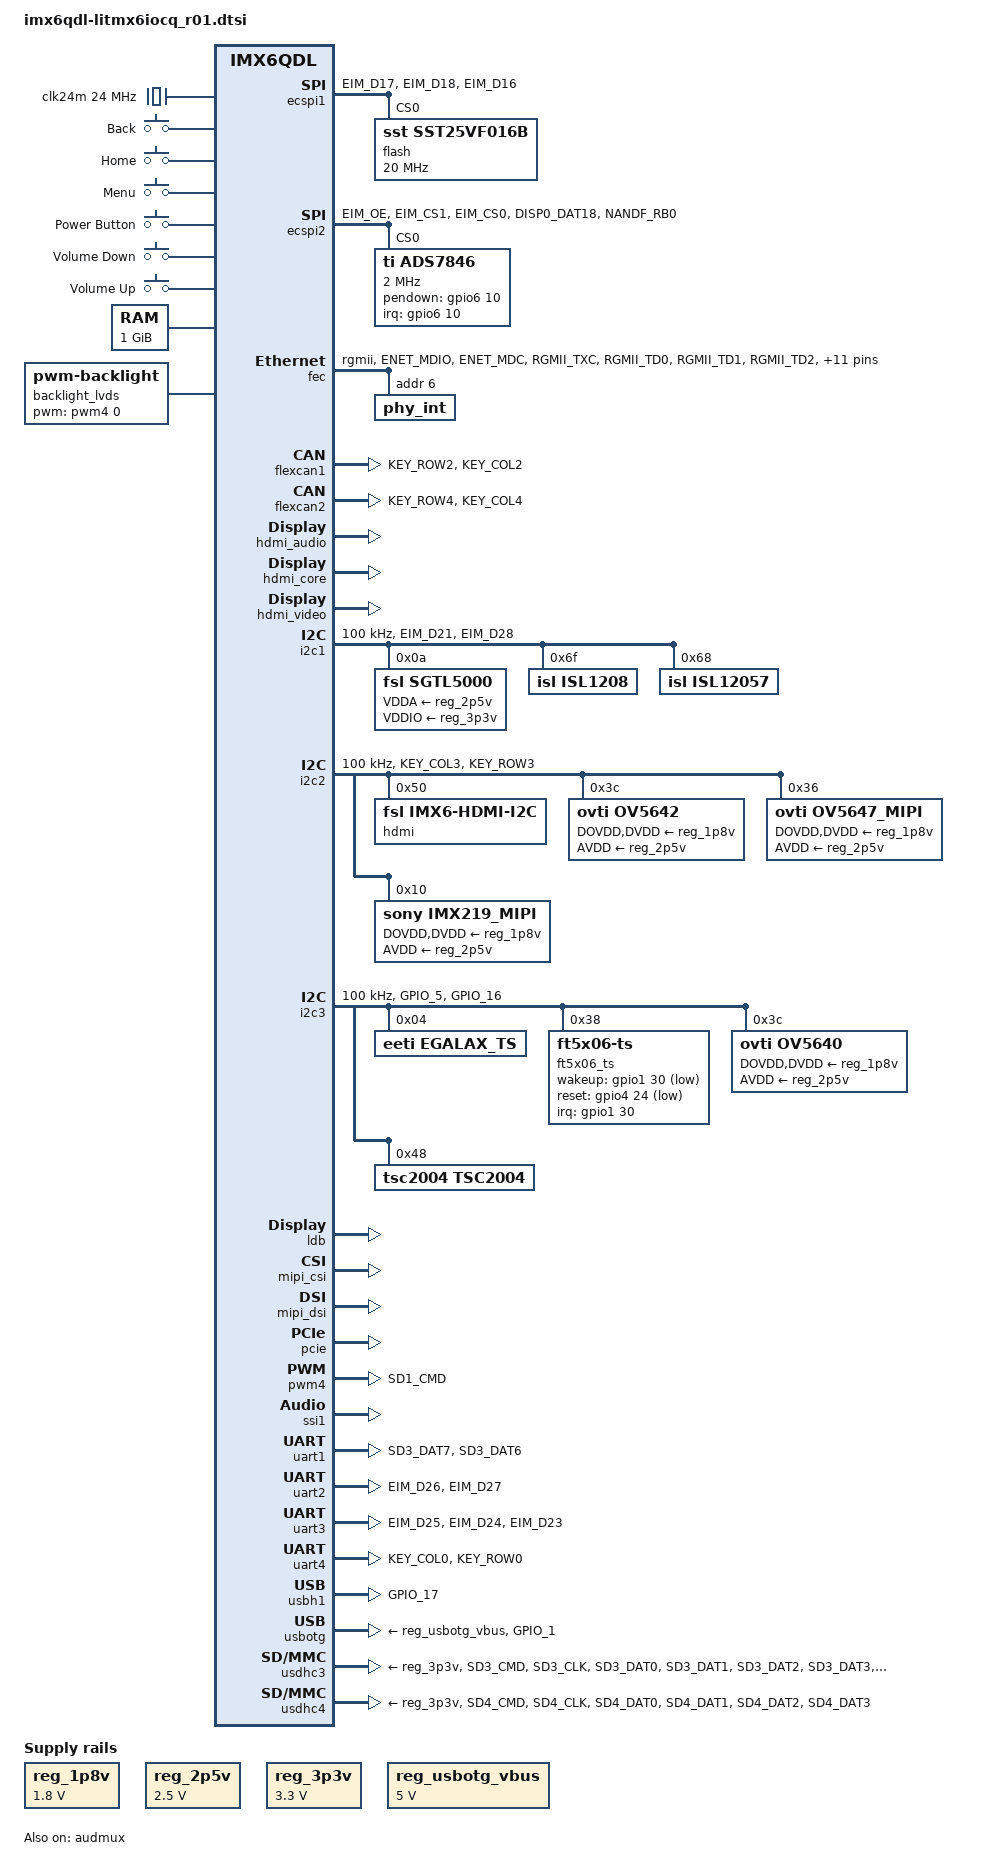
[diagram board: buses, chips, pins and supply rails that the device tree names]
/*
 * Copyritht 2017 LinuxIT, Inc.
 * Copyright 2015 Boundary Devices, Inc.
 * Copyright 2012 Freescale Semiconductor, Inc.
 * Copyright 2011 Linaro Ltd.
 *
 * The code contained herein is licensed under the GNU General Public
 * License. You may obtain a copy of the GNU General Public License
 * Version 2 or later at the following locations:
 *
 * http://www.opensource.org/licenses/gpl-license.html
 * http://www.gnu.org/copyleft/gpl.html
 */
#include <dt-bindings/input/input.h>

&iomuxc {
	pinctrl-names = "default";
	pinctrl-0 = <&pinctrl_hog>;

        iomuxc_imx6q_litmx6iocq_r01: iomuxc-litmx6iocq-grp {
                status = "okay";
        };
};

&iomuxc_imx6q_litmx6iocq_r01 {
	pinctrl_audmux: audmuxgrp {
		fsl,pins = <
			MX6QDL_PAD_CSI0_DAT7__AUD3_RXD		0x130b0
			MX6QDL_PAD_CSI0_DAT4__AUD3_TXC		0x130b0
			MX6QDL_PAD_CSI0_DAT5__AUD3_TXD		0x110b0
			MX6QDL_PAD_CSI0_DAT6__AUD3_TXFS		0x130b0
		>;
	};
	
	pinctrl_ecspi1: ecspi1grp {
		fsl,pins = <
			MX6QDL_PAD_EIM_D17__ECSPI1_MISO		0x100b1
			MX6QDL_PAD_EIM_D18__ECSPI1_MOSI		0x100b1
			MX6QDL_PAD_EIM_D16__ECSPI1_SCLK		0x000b1
#define GP_ECSPI1_NOR_CS	<&gpio3 19 GPIO_ACTIVE_LOW>
	//		MX6QDL_PAD_EIM_D19__GPIO3_IO19		0x0b0b1
		>;
	};

    pinctrl_ecspi2: ecspi2grp {
		fsl,pins = <
			MX6QDL_PAD_EIM_OE__ECSPI2_MISO		0x100b1
			MX6QDL_PAD_EIM_CS1__ECSPI2_MOSI		0x100b1
			MX6QDL_PAD_EIM_CS0__ECSPI2_SCLK		0x000b1
#define GP_ECSPI2_TS_CS	<&gpio5 12 GPIO_ACTIVE_LOW>
			MX6QDL_PAD_DISP0_DAT18__GPIO5_IO12	0x0b0b1
//#define IRQ_TS_INT <&gpio7 8 IRQ_TYPE_EDGE_BOTH>
//#define GP_TS_PENDOWN <&gpio7 8 GPIO_ACTIVE_HIGH>
//			MX6QDL_PAD_SD3_RST__GPIO7_IO08		0x0b0b1
			MX6QDL_PAD_NANDF_RB0__GPIO6_IO10		0x0b0b1
		>;
	};

	pinctrl_enet: enetgrp {
		fsl,pins = <
			MX6QDL_PAD_ENET_MDIO__ENET_MDIO		0x1b0b0
			MX6QDL_PAD_ENET_MDC__ENET_MDC		0x1b0b0
			MX6QDL_PAD_RGMII_TXC__RGMII_TXC		0x1b0b0
			MX6QDL_PAD_RGMII_TD0__RGMII_TD0		0x1b0b0
			MX6QDL_PAD_RGMII_TD1__RGMII_TD1		0x1b0b0
			MX6QDL_PAD_RGMII_TD2__RGMII_TD2		0x1b0b0
			MX6QDL_PAD_RGMII_TD3__RGMII_TD3		0x1b0b0
			MX6QDL_PAD_RGMII_TX_CTL__RGMII_TX_CTL	0x1b0b0
			MX6QDL_PAD_ENET_REF_CLK__ENET_TX_CLK	0x1b0b0
			MX6QDL_PAD_RGMII_RXC__RGMII_RXC		0x1b0b0
			MX6QDL_PAD_RGMII_RD0__RGMII_RD0		0x1b0b0
			MX6QDL_PAD_RGMII_RD1__RGMII_RD1		0x1b0b0
			MX6QDL_PAD_RGMII_RD2__RGMII_RD2		0x1b0b0
			MX6QDL_PAD_RGMII_RD3__RGMII_RD3		0x1b0b0
			MX6QDL_PAD_RGMII_RX_CTL__RGMII_RX_CTL	0x1b0b0
#define GP_ENET_PHY_RESET	<&gpio1 27 GPIO_ACTIVE_LOW>
			MX6QDL_PAD_ENET_RXD0__GPIO1_IO27	0x0f0b0		/* ethernet phy reset */
#define GPIRQ_ENET_PHY		<&gpio1 28 IRQ_TYPE_LEVEL_LOW>
			MX6QDL_PAD_ENET_TX_EN__GPIO1_IO28	0x1b0b0		/* ethernet phy interrupt */
		>;
	};

	pinctrl_flexcan1: flexcan1grp {
		fsl,pins = <
			MX6QDL_PAD_KEY_ROW2__FLEXCAN1_RX	0x1b0b0
			MX6QDL_PAD_KEY_COL2__FLEXCAN1_TX	0x1b0b0
		>;
	};

	pinctrl_flexcan2: flexcan2grp {
		fsl,pins = <
			MX6QDL_PAD_KEY_ROW4__FLEXCAN2_RX	0x1b0b0
			MX6QDL_PAD_KEY_COL4__FLEXCAN2_TX	0x1b0b0
		>;
	};

	pinctrl_gpio_keys: gpio-keysgrp {
		fsl,pins = <
#define GP_GPIOKEY_POWER	<&gpio2 3 GPIO_ACTIVE_LOW>
			MX6QDL_PAD_NANDF_D3__GPIO2_IO03		0x1b0b0
#define GP_GPIOKEY_MENU		<&gpio2 1 GPIO_ACTIVE_LOW>
			MX6QDL_PAD_NANDF_D1__GPIO2_IO01		0x1b0b0
#define GP_GPIOKEY_HOME		<&gpio2 4 GPIO_ACTIVE_LOW>
			MX6QDL_PAD_NANDF_D4__GPIO2_IO04		0x1b0b0
#define GP_GPIOKEY_BACK		<&gpio2 2 GPIO_ACTIVE_LOW>
			MX6QDL_PAD_NANDF_D2__GPIO2_IO02		0x1b0b0
#define GP_GPIOKEY_VOL_UP	<&gpio7 13 GPIO_ACTIVE_LOW>
			MX6QDL_PAD_GPIO_18__GPIO7_IO13		0x1b0b0
#define GP_GPIOKEY_VOL_DN	<&gpio4 5 GPIO_ACTIVE_LOW>
			MX6QDL_PAD_GPIO_19__GPIO4_IO05          0x1b0b0
		>;
	};

	pinctrl_hog: hoggrp {
		fsl,pins = <
			MX6QDL_PAD_DI0_DISP_CLK__GPIO4_IO16		0x1b0b0			/* Spare */
			MX6QDL_PAD_DI0_PIN15__GPIO4_IO17		0x1b0b0			/* Spare */
			MX6QDL_PAD_DI0_PIN2__GPIO4_IO18		0x1b0b0			/* Spare */
			MX6QDL_PAD_DI0_PIN3__GPIO4_IO19		0x1b0b0			/* Spare */
			MX6QDL_PAD_DISP0_DAT5__GPIO4_IO26		0x1b0b0			/* Spare */
			MX6QDL_PAD_DISP0_DAT6__GPIO4_IO27		0x1b0b0			/* Spare */
			MX6QDL_PAD_DISP0_DAT7__GPIO4_IO28		0x1b0b0			/* Spare */
			MX6QDL_PAD_DISP0_DAT8__GPIO4_IO29		0x1b0b0			/* Spare */
			MX6QDL_PAD_DISP0_DAT9__GPIO4_IO30 		0x1b0b0			/* Spare */
			MX6QDL_PAD_DISP0_DAT10__GPIO4_IO31		0x1b0b0			/* Spare */
			MX6QDL_PAD_DISP0_DAT11__GPIO5_IO05 		0x1b0b0			/* Spare */
			MX6QDL_PAD_DISP0_DAT12__GPIO5_IO06		0x1b0b0			/* Spare */
			MX6QDL_PAD_DISP0_DAT13__GPIO5_IO07 		0x1b0b0			/* Spare */
			MX6QDL_PAD_DISP0_DAT14__GPIO5_IO08		0x1b0b0			/* Spare */
			MX6QDL_PAD_DISP0_DAT15__GPIO5_IO09		0x1b0b0			/* Spare */
			MX6QDL_PAD_DISP0_DAT16__GPIO5_IO10		0x1b0b0			/* Spare */
			MX6QDL_PAD_DISP0_DAT17__GPIO5_IO11		0x1b0b0			/* Spare */
			MX6QDL_PAD_DISP0_DAT19__GPIO5_IO13		0x1b0b0			/* Spare */
			MX6QDL_PAD_DISP0_DAT20__GPIO5_IO14 		0x1b0b0			/* Spare */
			MX6QDL_PAD_DISP0_DAT21__GPIO5_IO15		0x1b0b0			/* Spare */
			MX6QDL_PAD_DISP0_DAT22__GPIO5_IO16		0x1b0b0			/* Spare */
			MX6QDL_PAD_DISP0_DAT23__GPIO5_IO17		0x1b0b0			/* Spare */
			MX6QDL_PAD_NANDF_D7__GPIO2_IO07		0x1b0b0		/* Spare */
			MX6QDL_PAD_SD1_DAT3__GPIO1_IO21		0x1b0b0		/* Spare */
			MX6QDL_PAD_SD1_DAT2__GPIO1_IO19		0x1b0b0		/* Spare */
			MX6QDL_PAD_SD1_DAT1__GPIO1_IO17		0x1b0b0		/* Spare */
			MX6QDL_PAD_NANDF_D6__GPIO2_IO06		0x1b0b0		/* Spare */
			MX6QDL_PAD_NANDF_D7__GPIO2_IO07		0x1b0b0		/* Spare */


			MX6QDL_PAD_SD3_DAT4__GPIO7_IO01		0x1b0b0		/* SD3 Write Protect */
		
			/* J11 Boot configuration Selet Pin Header => GPIO input */
			MX6QDL_PAD_EIM_A23__GPIO6_IO06		0x1b0b0
			MX6QDL_PAD_EIM_A22__GPIO2_IO16		0x1b0b0
			MX6QDL_PAD_EIM_A21__GPIO2_IO17		0x1b0b0
			MX6QDL_PAD_EIM_A20__GPIO2_IO18		0x1b0b0
			MX6QDL_PAD_EIM_A19__GPIO2_IO19 		0x1b0b0
			MX6QDL_PAD_EIM_A18__GPIO2_IO20		0x1b0b0
			MX6QDL_PAD_EIM_A17__GPIO2_IO21		0x1b0b0
			MX6QDL_PAD_EIM_A16__GPIO2_IO22		0x1b0b0
			MX6QDL_PAD_EIM_EB3__GPIO2_IO31		0x1b0b0
			MX6QDL_PAD_EIM_EB2__GPIO2_IO30		0x1b0b0
			MX6QDL_PAD_EIM_EB1__GPIO2_IO29		0x1b0b0
			MX6QDL_PAD_EIM_EB0__GPIO2_IO28 		0x1b0b0
			MX6QDL_PAD_EIM_LBA__GPIO2_IO27		0x1b0b0
			MX6QDL_PAD_EIM_WAIT__GPIO5_IO00		0x1b0b0
			MX6QDL_PAD_EIM_A24__GPIO5_IO04		0x1b0b0
			MX6QDL_PAD_EIM_DA0__GPIO3_IO00		0x1b0b0
			MX6QDL_PAD_EIM_DA1__GPIO3_IO01		0x1b0b0
			MX6QDL_PAD_EIM_DA2__GPIO3_IO02 		0x1b0b0
			MX6QDL_PAD_EIM_DA3__GPIO3_IO03		0x1b0b0
			MX6QDL_PAD_EIM_DA4__GPIO3_IO04		0x1b0b0
			MX6QDL_PAD_EIM_DA5__GPIO3_IO05		0x1b0b0
			MX6QDL_PAD_EIM_DA6__GPIO3_IO06		0x1b0b0
			MX6QDL_PAD_EIM_DA7__GPIO3_IO07		0x1b0b0
			MX6QDL_PAD_EIM_DA8__GPIO3_IO08		0x1b0b0
			MX6QDL_PAD_EIM_DA9__GPIO3_IO09 		0x1b0b0
			MX6QDL_PAD_EIM_DA10__GPIO3_IO10		0x1b0b0
			MX6QDL_PAD_EIM_DA11__GPIO3_IO11 	0x1b0b0
			MX6QDL_PAD_EIM_DA12__GPIO3_IO12		0x1b0b0
			MX6QDL_PAD_EIM_DA13__GPIO3_IO13		0x1b0b0
			MX6QDL_PAD_EIM_DA14__GPIO3_IO14 	0x1b0b0
			MX6QDL_PAD_EIM_DA15__GPIO3_IO15		0x1b0b0

			/* J17 Raspberry Pi Pin Header => GPIO input */
			MX6QDL_PAD_SD4_DAT4__GPIO2_IO12		0x1b0b0
			//MX6QDL_PAD_KEY_COL0__GPIO4_IO06		0x1b0b0	/* UART4_TX */
			MX6QDL_PAD_SD4_DAT5__GPIO2_IO13		0x1b0b0
			//MX6QDL_PAD_KEY_ROW0__GPIO4_IO07 	0x1b0b0 /* UART4_RX */
			MX6QDL_PAD_SD4_DAT6__GPIO2_IO14		0x1b0b0
			MX6QDL_PAD_SD1_CLK__GPIO1_IO20		0x1b0b0
			MX6QDL_PAD_SD4_DAT7__GPIO2_IO15 	0x1b0b0
			MX6QDL_PAD_SD3_RST__GPIO7_IO08		0x1b0b0
			MX6QDL_PAD_DISP0_DAT1__GPIO4_IO22	0x1b0b0	/* ECSPI3_MOSI */
			MX6QDL_PAD_ENET_RXD1__GPIO1_IO26	0x1b0b0
			MX6QDL_PAD_DISP0_DAT2__GPIO4_IO23	0x1b0b0	/* ECSPI3_MISO */
			MX6QDL_PAD_ENET_TXD0__GPIO1_IO30	0x1b0b0
			MX6QDL_PAD_DISP0_DAT0__GPIO4_IO21	0x1b0b0	/* ECSPI3_SCLK */
			MX6QDL_PAD_DISP0_DAT3__GPIO4_IO24	0x1b0b0	/* ECSPI3_SS0 */
			MX6QDL_PAD_NANDF_CS1__GPIO6_IO14	0x1b0b0
			MX6QDL_PAD_DISP0_DAT4__GPIO4_IO25	0x1b0b0	/* ECSPI3_SS1 */
			MX6QDL_PAD_NANDF_CS2__GPIO6_IO15 	0x1b0b0
			MX6QDL_PAD_SD2_DAT3__GPIO1_IO12		0x1b0b0
			MX6QDL_PAD_NANDF_CS3__GPIO6_IO16	0x1b0b0
			MX6QDL_PAD_SD2_DAT1__GPIO1_IO14		0x1b0b0	/* ECSPI5_SS0 */
			MX6QDL_PAD_SD2_DAT0__GPIO1_IO15		0x1b0b0	/* ECSPI5_MISO */
			MX6QDL_PAD_SD2_CMD__GPIO1_IO11		0x1b0b0	/* ECSPI5_MOSI */
			MX6QDL_PAD_SD2_DAT2__GPIO1_IO13 	0x1b0b0
			MX6QDL_PAD_SD2_CLK__GPIO1_IO10		0x1b0b0	/* ECSPI5_SCLK */

			/* J18 GPIO Pin Header => GPIO input */
			MX6QDL_PAD_GPIO_7__GPIO1_IO07		0x1b0b0
			MX6QDL_PAD_GPIO_2__GPIO1_IO02		0x1b0b0
			MX6QDL_PAD_GPIO_4__GPIO1_IO04 		0x1b0b0		
			MX6QDL_PAD_GPIO_9__GPIO1_IO09 		0x1b0b0	
			MX6QDL_PAD_NANDF_ALE__GPIO6_IO08 	0x1b0b0
			MX6QDL_PAD_NANDF_CS0__GPIO6_IO11 	0x1b0b0

			MX6QDL_PAD_NANDF_D0__GPIO2_IO00		0x1b0b0	/* DISP0_CONTRAST */
		>;
	};

	pinctrl_i2c1: i2c1grp {
		fsl,pins = <
			MX6QDL_PAD_EIM_D21__I2C1_SCL		0x4001b8b1
			MX6QDL_PAD_EIM_D28__I2C1_SDA		0x4001b8b1
		>;
	};

	pinctrl_i2c1_isl1208: i2c1-isl1208grp {
		fsl,pins = <
#define GPIRQ_RTC_ISL1208	<&gpio6 7 IRQ_TYPE_EDGE_FALLING>
			MX6QDL_PAD_NANDF_CLE__GPIO6_IO07	0x1b0b0
		>;
	};

	pinctrl_i2c1_isl12057: i2c1-isl12057grp {
		fsl,pins = <
#define GPIRQ_RTC_ISL12057	<&gpio6 7 IRQ_TYPE_EDGE_FALLING>
			MX6QDL_PAD_NANDF_CLE__GPIO6_IO07	0x1b0b0
		>;
	};

	pinctrl_i2c1_sgtl5000: i2c1-sgtl5000grp {
		fsl,pins = <
			MX6QDL_PAD_GPIO_0__CCM_CLKO1		0x000b0		/* sys_mclk */
		>;
	};

	pinctrl_i2c2: i2c2grp {
		fsl,pins = <
			MX6QDL_PAD_KEY_COL3__I2C2_SCL		0x4001b8b1
			MX6QDL_PAD_KEY_ROW3__I2C2_SDA		0x4001b8b1
		>;
	};
/*
	pinctrl_i2c2_ov5640_mipi: i2c2-ov5640-mipigrp {
		fsl,pins = <
#define GP_OV5640_MIPI_POWER_DOWN	<&gpio6 9 GPIO_ACTIVE_LOW>
			MX6QDL_PAD_NANDF_WP_B__GPIO6_IO09	0x0b0b0
#define GP_OV5640_MIPI_RESET		<&gpio2 5 GPIO_ACTIVE_LOW>
			MX6QDL_PAD_NANDF_D5__GPIO2_IO05		0x000b0
		>;
	};
*/
	pinctrl_i2c2_ov5647_mipi: i2c2-ov5647-mipigrp {
		fsl,pins = <
#define GP_OV5647_MIPI_POWER_DOWN	<&gpio6 9 GPIO_ACTIVE_LOW>
			MX6QDL_PAD_NANDF_WP_B__GPIO6_IO09	0x0b0b0
#define GP_OV5647_MIPI_RESET		<&gpio2 5 GPIO_ACTIVE_LOW>
			MX6QDL_PAD_NANDF_D5__GPIO2_IO05		0x000b0
		>;
	};

	pinctrl_i2c2_ov5642: i2c2-ov5642grp { /* parallel camera */
		fsl,pins = <
			MX6QDL_PAD_CSI0_DAT12__IPU1_CSI0_DATA12		0x1b0b0
			MX6QDL_PAD_CSI0_DAT13__IPU1_CSI0_DATA13		0x1b0b0
			MX6QDL_PAD_CSI0_DAT14__IPU1_CSI0_DATA14		0x1b0b0
			MX6QDL_PAD_CSI0_DAT15__IPU1_CSI0_DATA15		0x1b0b0
			MX6QDL_PAD_CSI0_DAT16__IPU1_CSI0_DATA16		0x1b0b0
			MX6QDL_PAD_CSI0_DAT17__IPU1_CSI0_DATA17		0x1b0b0
			MX6QDL_PAD_CSI0_DAT18__IPU1_CSI0_DATA18		0x1b0b0
			MX6QDL_PAD_CSI0_DAT19__IPU1_CSI0_DATA19		0x1b0b0
			MX6QDL_PAD_CSI0_DATA_EN__IPU1_CSI0_DATA_EN	0x1b0b0
			MX6QDL_PAD_CSI0_PIXCLK__IPU1_CSI0_PIXCLK	0x1b0b0
			MX6QDL_PAD_CSI0_MCLK__IPU1_CSI0_HSYNC		0x1b0b0
			MX6QDL_PAD_CSI0_VSYNC__IPU1_CSI0_VSYNC		0x1b0b0
			MX6QDL_PAD_GPIO_3__CCM_CLKO2			0x000b0		/* mclk */
#define GP_OV5642_POWER_DOWN	<&gpio1 6 GPIO_ACTIVE_HIGH>
			MX6QDL_PAD_GPIO_6__GPIO1_IO06			0x000b0
#define GP_OV5642_RESET		<&gpio1 8 GPIO_ACTIVE_LOW>
			MX6QDL_PAD_GPIO_8__GPIO1_IO08			0x000b0
		>;
	};
/*
	pinctrl_i2c2_tc358743_mipi: i2c2-tc358743_mipigrp {
		fsl,pins = <
#define GP_TC3587_RESET	<&gpio6 9 GPIO_ACTIVE_LOW>
			MX6QDL_PAD_NANDF_WP_B__GPIO6_IO09	0x030b0
#define GPIRQ_TC3587	<&gpio2 5 IRQ_TYPE_LEVEL_LOW>
			MX6QDL_PAD_NANDF_D5__GPIO2_IO05		0x0b0b0
		>;
	};
*/
	pinctrl_i2c3: i2c3grp {
		fsl,pins = <
			MX6QDL_PAD_GPIO_5__I2C3_SCL		0x4001b8b1
			MX6QDL_PAD_GPIO_16__I2C3_SDA		0x4001b8b1
		>;
	};
/*
	pinctrl_i2c3_adv7180_gpios: i2c3-adv7180_gpiosgrp {
		fsl,pins = <
			// No data enable pin, make sure it is not selected
			MX6QDL_PAD_EIM_DA10__GPIO3_IO10		0x0b0b1
 #define GP_ADV7180_PWN         <&gpio3 13 GPIO_ACTIVE_LOW> 
			MX6QDL_PAD_EIM_DA13__GPIO3_IO13		0x0b0b0
 #define GP_ADV7180_RESET       <&gpio3 14 GPIO_ACTIVE_LOW>
 			MX6QDL_PAD_EIM_DA14__GPIO3_IO14		0x030b0
 #define GPIRQ_ADV7180         <&gpio5 0 IRQ_TYPE_LEVEL_LOW>
			MX6QDL_PAD_EIM_WAIT__GPIO5_IO00		0x1b0b0
		>;
	};

	pinctrl_i2c3_adv7180: i2c3-adv7180grp {
		// parallel camera on CSI1, pins differ for iMX6Q/iMX6DL
	};

	pinctrl_i2c3_adv7180_cea861: i2c3-adv7180_cea861grp {
		// parallel camera on CSI1, pins differ for iMX6Q/iMX6DL
	};

	pinctrl_i2c3_adv7180_no_cea861: i2c3-adv7180_no_cea861grp {
		fsl,pins = <
			MX6QDL_PAD_EIM_DA11__GPIO3_IO11		0xb0b1  // Hsync
			MX6QDL_PAD_EIM_DA12__GPIO3_IO12		0xb0b1  // Vsync
		>;
	};
*/
/*								 
	pinctrl_i2c3_gt911: i2c3_gt911grp {
		fsl,pins = <
#define GPIRQ_GT911			<&gpio1 9 IRQ_TYPE_LEVEL_LOW>
#define GP_GT911_RESET		<&gpio2 0 GPIO_ACTIVE_LOW>
			MX6QDL_PAD_NANDF_D0__GPIO2_IO00		0x030b0
		>;
	};
*/
	pinctrl_i2c3_ov5640: i2c3-ov5640grp {
		/* parallel camera on CSI1, pins differ for iMX6Q/iMX6DL */
	};

	pinctrl_i2c3_ov5640_gpios: i2c3-ov5640-gpiosgrp {
		fsl,pins = <
 #define GP_OV5640_POWER_DOWN	<&gpio3 13 GPIO_ACTIVE_HIGH>
			MX6QDL_PAD_EIM_DA13__GPIO3_IO13		0x0b0b0 
 #define GP_OV5640_RESET		<&gpio3 14 GPIO_ACTIVE_LOW>
			MX6QDL_PAD_EIM_DA14__GPIO3_IO14		0x030b0 
		>;
	};

	pinctrl_i2c3_ft5x06_ts: i2c3-ft5x06tsgrp {
		fsl,pins = <
		/* MX6QDL_PAD_ENET_TXD0__GPIO1_IO30	0x1b0b0 */
		/* MX6QDL_PAD_DISP0_DAT3__GPIO4_IO24	0x1b0b0 */
#define GPIRQ_FT5X06TS	<&gpio1 30 IRQ_TYPE_EDGE_FALLING>
#define GPIOQ_FT5X06TS	<&gpio1 30 GPIO_ACTIVE_LOW>
		>;
	};

	pinctrl_i2c3_tsc2004: i2c3-tsc2004grp {
		fsl,pins = <
#define GPIRQ_TSC2004		<&gpio4 20 IRQ_TYPE_EDGE_FALLING>
#define GP_TSC2004		<&gpio4 20 GPIO_ACTIVE_LOW>
			/* MX6QDL_PAD_DI0_PIN4__GPIO4_IO20		0x1b0b0	*/	/* tsc2004 interrupt */
		>;
	};

	pinctrl_pwm4: pwm4grp {
		fsl,pins = <
			MX6QDL_PAD_SD1_CMD__PWM4_OUT		0x1b0b1
		>;
	};

	pinctrl_reg_usbotg_vbus: reg-usbotg-vbusgrp {
		fsl,pins = <
#define GP_REG_USBOTG	<&gpio3 22 GPIO_ACTIVE_HIGH>
			MX6QDL_PAD_EIM_D22__GPIO3_IO22		0x030b0
		>;
	};

	pinctrl_uart1: uart1grp {
		fsl,pins = <
			MX6QDL_PAD_SD3_DAT7__UART1_TX_DATA	0x1b0b1
			MX6QDL_PAD_SD3_DAT6__UART1_RX_DATA	0x1b0b1
		>;
	};

	pinctrl_uart2: uart2grp {
		fsl,pins = <
			MX6QDL_PAD_EIM_D26__UART2_TX_DATA	0x1b0b1
			MX6QDL_PAD_EIM_D27__UART2_RX_DATA	0x1b0b1
		>;
	};

	pinctrl_uart3: uart3grp {
		fsl,pins = <
			MX6QDL_PAD_EIM_D25__UART3_RX_DATA	0x1b0b1
			MX6QDL_PAD_EIM_D24__UART3_TX_DATA	0x1b0b1
			MX6QDL_PAD_EIM_D23__UART3_CTS_B		0x1b0b1		/* Data Enable */
		/*	MX6QDL_PAD_EIM_D31__UART3_RTS_B		0x1b0b1 */	/* No used */
		>;
	};

	pinctrl_uart4: uart4grp {
		fsl,pins = <
			MX6QDL_PAD_KEY_COL0__UART4_TX_DATA	0x1b0b1
			MX6QDL_PAD_KEY_ROW0__UART4_RX_DATA	0x1b0b1
		>;
	};

	pinctrl_usbh1: usbh1grp {
		fsl,pins = <
#define GP_USBH1_HUB_RESET	<&gpio7 12 GPIO_ACTIVE_LOW>
			MX6QDL_PAD_GPIO_17__GPIO7_IO12		0x0b0b0
		>;
	};

	pinctrl_usbotg: usbotggrp {
		fsl,pins = <
			MX6QDL_PAD_GPIO_1__USB_OTG_ID		0x17059
		>;
	};

	pinctrl_usdhc3: usdhc3grp {
		fsl,pins = <
			MX6QDL_PAD_SD3_CMD__SD3_CMD		0x17059
			MX6QDL_PAD_SD3_CLK__SD3_CLK		0x10059
			MX6QDL_PAD_SD3_DAT0__SD3_DATA0		0x17059
			MX6QDL_PAD_SD3_DAT1__SD3_DATA1		0x17059
			MX6QDL_PAD_SD3_DAT2__SD3_DATA2		0x17059
			MX6QDL_PAD_SD3_DAT3__SD3_DATA3		0x17059
#define GP_USDHC3_CD	<&gpio7 0 GPIO_ACTIVE_LOW>
			MX6QDL_PAD_SD3_DAT5__GPIO7_IO00		0x1b0b0
		>;
	};
	pinctrl_usdhc4: usdhc4grp {
		fsl,pins = <
			MX6QDL_PAD_SD4_CMD__SD4_CMD		0x17059
			MX6QDL_PAD_SD4_CLK__SD4_CLK		0x10059
			MX6QDL_PAD_SD4_DAT0__SD4_DATA0		0x17059
			MX6QDL_PAD_SD4_DAT1__SD4_DATA1		0x17059
			MX6QDL_PAD_SD4_DAT2__SD4_DATA2		0x17059
			MX6QDL_PAD_SD4_DAT3__SD4_DATA3		0x17059
		>;
	};
};

/ {
	aliases {
		fb_hdmi = &fb_hdmi;
		fb_lcd = &fb_lcd;
		fb_lvds = &fb_lvds;
		ldb = &ldb;
		mmc0 = &usdhc3;
		mmc1 = &usdhc4;
		mxcfb0 = &fb_hdmi;
		mxcfb1 = &fb_lvds;
		mxcfb2 = &fb_lcd;
		t_lvds = &t_lvds;
		rs485 = &uart3;
		zigbee = &uart4;
	};

	clocks {
		clk24m: clk24m {
			compatible = "fixed-clock";
			#clock-cells = <0>;
			clock-frequency = <24000000>;
		};
	};

	gpio-keys {
		compatible = "gpio-keys";
		pinctrl-names = "default";
		pinctrl-0 = <&pinctrl_gpio_keys>;

		back {
			label = "Back";
			gpios = GP_GPIOKEY_BACK;
			linux,code = <KEY_BACK>;
		};

		home {
			label = "Home";
			gpios = GP_GPIOKEY_HOME;
			linux,code = <KEY_HOME>;
		};

		menu {
			label = "Menu";
			gpios = GP_GPIOKEY_MENU;
			linux,code = <KEY_MENU>;
		};

		power {
			label = "Power Button";
			gpios = GP_GPIOKEY_POWER;
			linux,code = <KEY_POWER>;	/* or KEY_SEARCH */
			gpio-key,wakeup;
		};

		volume-down {
			label = "Volume Down";
			gpios = GP_GPIOKEY_VOL_DN;
			linux,code = <KEY_VOLUMEDOWN>;
		};

		volume-up {
			label = "Volume Up";
			gpios = GP_GPIOKEY_VOL_UP;
			linux,code = <KEY_VOLUMEUP>;
		};
	};

	memory {
		reg = <0x10000000 0x40000000>;
	};

	regulators {
		compatible = "simple-bus";
		#address-cells = <1>;
		#size-cells = <0>;

		reg_1p8v: regulator@0 {
			compatible = "regulator-fixed";
			reg = <0>;
			regulator-name = "1P8V";
			regulator-min-microvolt = <1800000>;
			regulator-max-microvolt = <1800000>;
			regulator-always-on;
		};

		reg_2p5v: regulator@1 {
			compatible = "regulator-fixed";
			reg = <1>;
			regulator-name = "2P5V";
			regulator-min-microvolt = <2500000>;
			regulator-max-microvolt = <2500000>;
			regulator-always-on;
		};

		reg_3p3v: regulator@2 {
			compatible = "regulator-fixed";
			reg = <2>;
			regulator-name = "3P3V";
			regulator-min-microvolt = <3300000>;
			regulator-max-microvolt = <3300000>;
			regulator-always-on;
		};

		reg_usbotg_vbus: regulator@3 {
			compatible = "regulator-fixed";
			reg = <3>;
			pinctrl-names = "default";
			pinctrl-0 = <&pinctrl_reg_usbotg_vbus>;
			regulator-name = "usb_otg_vbus";
			regulator-min-microvolt = <5000000>;
			regulator-max-microvolt = <5000000>;
			gpio = GP_REG_USBOTG;
			enable-active-high;
		};
	};

	sound {
		compatible = "fsl,imx6q-nitrogen6x-sgtl5000",
			     "fsl,imx-audio-sgtl5000";
		model = "imx6q-nitrogen6x-sgtl5000";
		cpu-dai = <&ssi1>;
		audio-codec = <&sgtl5000>;
		audio-routing =
			"MIC_IN", "Mic Jack",
			"Mic Jack", "Mic Bias",
			"Headphone Jack", "HP_OUT";
		mux-int-port = <1>;
		mux-ext-port = <3>;
	};

	sound-hdmi {
		compatible = "fsl,imx6q-audio-hdmi",
			     "fsl,imx-audio-hdmi";
		model = "imx-audio-hdmi";
		hdmi-controller = <&hdmi_audio>;
	};

	fb_hdmi: fb@0 {
		compatible = "fsl,mxc_sdc_fb";
		disp_dev = "hdmi";
		interface_pix_fmt = "RGB24";
		mode_str ="1280x720M@60";
		default_bpp = <32>;
		int_clk = <0>;
		late_init = <0>;
		status = "disabled";
	};

	fb_lvds: fb@1 {
		compatible = "fsl,mxc_sdc_fb";
		disp_dev = "ldb";
		interface_pix_fmt = "RGB666";
		default_bpp = <16>;
		int_clk = <0>;
		late_init = <0>;
		status = "disabled";
	};

	fb_lcd: fb@2 {
		compatible = "fsl,mxc_sdc_fb";
		disp_dev = "lcd";
		interface_pix_fmt = "RGB666";
		default_bpp = <16>;
		int_clk = <0>;
		late_init = <0>;
		status = "disabled";
	};

	backlight_lvds {
		compatible = "pwm-backlight";
		//pwms = <&pwm4 0 4000>;	/* 50% 250KHz */
		pwms = <&pwm4 0 50000>;
		brightness-levels = <0 1 2 3 4 5 6 7 8 9 10>;
		default-brightness-level = <5>;
	};

	v4l2_cap_0: v4l2_cap_0 {
		compatible = "fsl,imx6q-v4l2-capture";
		ipu_id = <0>;
		csi_id = <0>;
		mclk_source = <0>;
		status = "okay";
	};

	v4l2_cap_1: v4l2_cap_1 {
		compatible = "fsl,imx6q-v4l2-capture";
		ipu_id = <0>;
		csi_id = <1>;
		mipi_camera = <1>;
		mclk_source = <0>;
		status = "okay";
	};

	v4l2_cap_2: v4l2_cap_2 {
		compatible = "fsl,imx6q-v4l2-capture";
		ipu_id = <0>;
		csi_id = <1>;
		mclk_source = <0>;
		status = "okay";
	};

	v4l2_cap_3: v4l2_cap_3 {
		compatible = "fsl,imx6q-v4l2-capture";
		ipu_id = <0>;
		csi_id = <0>;
		mipi_camera = <1>;
		mclk_source = <0>;
		status = "okay";
	};

	v4l2_out {
		compatible = "fsl,mxc_v4l2_output";
		status = "okay";
	};
};

&audmux {
	status = "okay";
	pinctrl-names = "default";
	pinctrl-0 = <&pinctrl_audmux>;
};


&ecspi1 {
	fsl,spi-num-chipselects = <1>;
	cs-gpios = GP_ECSPI1_NOR_CS;
	pinctrl-names = "default";
	pinctrl-0 = <&pinctrl_ecspi1>;
	status = "okay";

	flash: m25p80@0 {
		compatible = "sst,sst25vf016b";
		spi-max-frequency = <20000000>;
		reg = <0>;
		#address-cells = <1>;
		#size-cells = <1>;
		mtd@00000000 {
			label = "U-Boot";
			reg = <0x0 0xC0000>;
		};

		mtd@000C0000 {
			label = "env";
			reg = <0xC0000 0x2000>;
		};
		mtd@000C2000 {
			label = "splash";
			reg = <0xC2000 0x13e000>;
		};
	};
};

/*
&ecspi2 {
	fsl,spi-num-chipselects = <2>;
	cs-gpios = <&gpio5 12 GPIO_ACTIVE_LOW>,
		<&gpio6 10 GPIO_ACTIVE_LOW>;
	pinctrl-names = "default";
	pinctrl-0 = <&pinctrl_ecspi2>;
	status = "okay";

	spidev@0x00 {
		compatible = "spidev";
		reg = <0>; 
		spi-max-frequency = <1200000>;
		status = "okay";
	};  
	spidev@0x01 {
		compatible = "spidev";
		reg = <1>; 
		spi-max-frequency = <1200000>;
		status = "okay";
	}; 
};
*/

&ecspi2 {
	fsl,spi-num-chipselects = <1>;
	cs-gpios = GP_ECSPI2_TS_CS;
	pinctrl-names = "default";
	pinctrl-0 = <&pinctrl_ecspi2>;
	status = "okay";

ads7846: ads7846@0 {
		reg = <0>;	// CS0
		compatible = "ti,ads7846";
		spi-max-frequency = <2000000>;
		/* Version R01 R02 */
		/*
		interrupt-parent = <&gpio7>;
		interrupts = <8 0>;
		pendown-gpio = <&gpio7 8 0>;
		*/
		/* Version RA */
		interrupt-parent = <&gpio6>;
		interrupts = <10 0>;
		pendown-gpio = <&gpio6 10 0>;

		// ti,x-min = /bits/ 16 <4200>;
		// ti,x-max = /bits/ 16 <8080>;
		// ti,y-min = /bits/ 16 <4330>;
		// ti,y-max = /bits/ 16 <7980>;
		ti,x-min = /bits/ 16 <4209>;
		ti,x-max = /bits/ 16 <8062>;
		ti,y-min = /bits/ 16 <4219>;
		ti,y-max = /bits/ 16 <7884>;
		ti,x-plate-ohms = /bits/ 16 <120>;
		ti,pressure-max = /bits/ 16 <255>;
		ti,debounce-max = /bits/ 16 <30>;
		ti,debounce-tol = /bits/ 16 <5>;
		ti,debounce-rep = /bits/ 16 <1>;
		// ti,settle-delay-usec = /bits/ 16 <1>; 
		// ti,vref-delay-usecs = /bits/ 16 <200>;
		ti,keep-vref-on;
		// ti,swap-xy; 
		linux,wakeup;
	};
};


&fec {
	pinctrl-names = "default";
	pinctrl-0 = <&pinctrl_enet>;
	phy-mode = "rgmii";
#if 0
	phy-reset-gpios = GP_ENET_PHY_RESET;
#endif
	status = "okay";

	#address-cells = <0>;
	#size-cells = <1>;
	phy_int {
		reg = <0x6>;
		interrupts-extended = GPIRQ_ENET_PHY;
	};
};

&flexcan1 {
	pinctrl-names = "default";
	pinctrl-0 = <&pinctrl_flexcan1>;
	status = "okay";
};

&flexcan2 {
	pinctrl-names = "default";
	pinctrl-0 = <&pinctrl_flexcan2>;
	status = "okay";
};

&hdmi_audio {
	status = "okay";
};

&hdmi_core {
	ipu_id = <1>;
	disp_id = <0>;
	status = "okay";
};

&hdmi_video {
	fsl,phy_reg_vlev = <0x0294>;
	fsl,phy_reg_cksymtx = <0x800d>;
	status = "okay";
};

&i2c1 {
	clock-frequency = <100000>;
	pinctrl-names = "default";
	pinctrl-0 = <&pinctrl_i2c1>;
	status = "okay";

	sgtl5000: sgtl5000@0a {
		compatible = "fsl,sgtl5000";
		pinctrl-names = "default";
		pinctrl-0 = <&pinctrl_i2c1_sgtl5000>;
		reg = <0x0a>;
		clocks = <&clks 201>;
		VDDA-supply = <&reg_2p5v>;
		VDDIO-supply = <&reg_3p3v>;
	};
	isl1208@6f {
		compatible = "isl,isl1208";
		pinctrl-names = "default";
		pinctrl-0 = <&pinctrl_i2c1_isl1208>;
		reg = <0x6f>;
		interrupts-extended = GPIRQ_RTC_ISL1208;
	};
	isl12057@68 {
		compatible = "isl,isl12057";
		pinctrl-names = "default";
		pinctrl-0 = <&pinctrl_i2c1_isl12057>;
		reg = <0x68>;
		interrupts-extended = GPIRQ_RTC_ISL12057;
	};
};

&i2c2 {
	clock-frequency = <100000>;
	pinctrl-names = "default";
	pinctrl-0 = <&pinctrl_i2c2>;
	status = "okay";

	hdmi: edid@50 {
		compatible = "fsl,imx6-hdmi-i2c";
		reg = <0x50>;
	};

	ov5642: ov5642@3c {
		compatible = "ovti,ov5642";
		reg = <0x3c>;
		pinctrl-names = "default";
		pinctrl-0 = <&pinctrl_i2c2_ov5642>;
		//clocks = <&clks 200>;
		clocks = <&clks 147>;
		clock-names = "csi_mclk";
		DOVDD-supply = <&reg_1p8v>;
		AVDD-supply = <&reg_2p5v>;
		DVDD-supply = <&reg_1p8v>;
		pwn-gpios = GP_OV5642_POWER_DOWN;
		rst-gpios = GP_OV5642_RESET;
		ipu_id = <0>;
		csi_id = <0>;
		mclk = <24000000>;
		mclk_source = <0>;
	};
/*
	ov5640_mipi: ov5640_mipi@3e {
		compatible = "ovti,ov5640_mipi";
		reg = <0x3e>;
		pinctrl-names = "default";
		pinctrl-0 = <&pinctrl_i2c2_ov5640_mipi>;
		clocks = <&clks 147>;
		clock-names = "csi_mclk";
		DOVDD-supply = <&reg_1p8v>;
		AVDD-supply = <&reg_2p5v>;
		DVDD-supply = <&reg_1p8v>;
		pwn-gpios = GP_OV5640_MIPI_POWER_DOWN;
		rst-gpios = GP_OV5640_MIPI_RESET;
		ipu_id = <0>;
		csi_id = <1>;
		mclk = <22000000>;
		mclk_source = <0>;
		pwms = <&pwm3 0 45>;
	};
*/
	ov5647_mipi: ov5647_mipi@36 {
		compatible = "ovti,ov5647_mipi";
		reg = <0x36>;
		pinctrl-names = "default";
		pinctrl-0 = <&pinctrl_i2c2_ov5647_mipi>;
		//clocks = <&clks 0>;
		clocks = <&clks 147>;
		//clocks = <&clks 176>;
		clock-names = "csi_mclk";
		DOVDD-supply = <&reg_1p8v>;
		AVDD-supply = <&reg_2p5v>;
		DVDD-supply = <&reg_1p8v>;
		pwn-gpios = GP_OV5647_MIPI_POWER_DOWN;
		rst-gpios = GP_OV5647_MIPI_RESET;
		ipu_id = <0>;
		csi_id = <1>;
		mclk = <25000000>;
		mclk_source = <0>;
		extended-buffer;
	};

	imx219_mipi: imx219_mipi@10 {
		compatible = "sony,imx219_mipi";
		reg = <0x10>;
		pinctrl-names = "default";
		pinctrl-0 = <&pinctrl_i2c2_ov5647_mipi>;
		//clocks = <&clks 0>;
		clocks = <&clks 147>;
		//clocks = <&clks 176>;
		clock-names = "csi_mclk";
		DOVDD-supply = <&reg_1p8v>;
		AVDD-supply = <&reg_2p5v>;
		DVDD-supply = <&reg_1p8v>;
		pwn-gpios = GP_OV5647_MIPI_POWER_DOWN;
		rst-gpios = GP_OV5647_MIPI_RESET;
		ipu_id = <0>;
		csi_id = <1>;
		mclk = <25000000>;
		mclk_source = <0>;
		extended-buffer;
	};
/*
	ft5x06_ts: ft5x06_ts@38 {
		compatible = "ft5x06-ts";
		reg = <0x38>;
        // interrupts-extended = GPIRQ_I2C3_J7;
		// wakeup-gpios = GP_I2C3_J7; 
	};
*/

/*
	tc358743_mipi: tc358743_mipi@0f {
		compatible = "tc358743_mipi";
		reg = <0x0f>;
		pinctrl-names = "default";
		pinctrl-0 = <&pinctrl_i2c2_tc358743_mipi>;
		DOVDD-supply = <&reg_1p8v>;
		AVDD-supply = <&reg_2p5v>;
		DVDD-supply = <&reg_1p8v>;
		rst-gpios = GP_TC3587_RESET;
		interrupts-extended = GPIRQ_TC3587;
		ipu_id = <0>;
		csi_id = <0>;
		mclk = <27000000>;
		mclk_source = <0>;
	};
	*/
};

&i2c3 {
        clock-frequency = <100000>;
        pinctrl-names = "default";
        pinctrl-0 = <&pinctrl_i2c3>;
        status = "okay";
/*
	adv7180: adv7180@20 {
		compatible = "adv,adv7180";
		reg = <0x20>;
		pinctrl-names = "default", "no_cea861", "cea861";
		pinctrl-0 = <&pinctrl_i2c3_adv7180 &pinctrl_i2c3_adv7180_gpios>;
		pinctrl-1 = <&pinctrl_i2c3_adv7180_no_cea861>;
		pinctrl-2 = <&pinctrl_i2c3_adv7180_cea861>;
		cea861 = <0>;
		DOVDD-supply = <&reg_3p3v>; // 3.3v, enabled via 2.8 VGEN6
		AVDD-supply = <&reg_3p3v>;  // 1.8v
		DVDD-supply = <&reg_3p3v>;  // 1.8v
		PVDD-supply = <&reg_3p3v>;  // 1.8v
		rst-gpios = GP_ADV7180_RESET;
		pwn-gpios = GP_ADV7180_PWN;
		interrupts-extended = GPIRQ_ADV7180;
		csi_id = <1>;
		mclk = <28636300>;
		mclk_source = <0>;
		cvbs = <1>;
        };
*/
        egalax_ts@04 {
                compatible = "eeti,egalax_ts";
                reg = <0x04>;
                /* interrupts-extended = GPIRQ_I2C3_J7; */
                /* wakeup-gpios = GP_I2C3_J7; */
        };
		// touch test 
	ft5x06_ts: ft5x06_ts@38 {
		compatible = "ft5x06-ts";
		reg = <0x38>;
		pinctrl-names = "default";
		pinctrl-0 = <&pinctrl_i2c3_ft5x06_ts>;
		interrupts-extended = <&gpio1 30 GPIO_ACTIVE_LOW>;
		wakeup-gpios = <&gpio1 30 GPIO_ACTIVE_LOW>;
		reset-gpios = <&gpio4 24 GPIO_ACTIVE_LOW>;
		};

	ov5640: ov5640@3c {
		compatible = "ovti,ov5640";
		reg = <0x3c>;
		pinctrl-names = "default";
		pinctrl-0 = <&pinctrl_i2c3_ov5640 &pinctrl_i2c3_ov5640_gpios>;
		clocks = <&clk24m 0>;
		clock-names = "csi_mclk";
		DOVDD-supply = <&reg_1p8v>;
		AVDD-supply = <&reg_2p5v>;
		DVDD-supply = <&reg_1p8v>;
		pwn-gpios = GP_OV5640_POWER_DOWN;
		rst-gpios = GP_OV5640_RESET;
		csi_id = <1>;
		mclk = <24000000>;
		mclk_source = <0>;
	};

	tsc2004: tsc2004@48 {
		compatible = "tsc2004,tsc2004";
		reg = <0x48>;
		pinctrl-names = "default";
		pinctrl-0 = <&pinctrl_i2c3_tsc2004>;
		interrupts-extended = GPIRQ_TSC2004;
		wakeup-gpios = GP_TSC2004;
	};
};

&ldb {
	status = "okay";

	lvds-channel@0 {
		crtc = "ipu1-di1";
		fsl,data-mapping = "spwg";
		fsl,data-width = <18>;
		status = "okay";
		primary;

		display-timings {
			t_lvds: t_lvds_default {
				/* lg1280x800 values may be changed in bootscript */
				clock-frequency = <72000000>;
				hactive = <1280>;
				vactive = <800>;
				hback-porch = <48>;
				hfront-porch = <80>;
				vback-porch = <15>;
				vfront-porch = <2>;
				hsync-len = <32>;
				vsync-len = <6>;
			};
			okaya1024x600: okaya7x0WP {
				clock-frequency = <52000000>;
				hactive = <1024>;
				vactive = <600>;
				hback-porch = <220>;
				hfront-porch = <40>;
				vback-porch = <7>;
				vfront-porch = <21>;
				hsync-len = <60>;
				vsync-len = <10>;
			};
			hannstar: hsd100pxn1 {
				clock-frequency = <65000000>;
				hactive = <1024>;
				vactive = <768>;
				hback-porch = <220>;
				hfront-porch = <40>;
				vback-porch = <21>;
				vfront-porch = <7>;
				hsync-len = <60>;
				vsync-len = <10>;
			};
			AA065VE11: AA065VE11 {
				clock-frequency = <43748359>;
				hactive = <640>;
				vactive = <480>;
				hback-porch = <148>;
				hfront-porch = <116>;
				vback-porch = <83>;
				vfront-porch = <60>;
				hsync-len = <96>;
				vsync-len = <2>;
			};
			vga_lvds: vga {
				clock-frequency = <25175000>;
				hactive = <640>;
				vactive = <480>;
				hback-porch = <48>;
				hfront-porch = <16>;
				vback-porch = <33>;
				vfront-porch = <10>;
				hsync-len = <96>;
				vsync-len = <2>;
			};
		};
	};
};

&mipi_csi {
	ipu_id = <0>;
	csi_id = <1>;
	v_channel = <0>;
	lanes = <2>;
	mipi_dphy_clk = <0x28>;
	status = "okay";
};

&mipi_dsi {
	dev_id = <0>;
	disp_id = <1>;
	lcd_panel = "RPI7-WVGA";
	//clocks = <&clks 0>;
	//clock-names = "mipi_pllref_clk";
	//disp-power-on-supply = <&reg_mipi_dsi_pwr_on>;
	status = "okay";
};

&pcie {
	status = "okay";
};

&pwm4 {
	pinctrl-names = "default";
	pinctrl-0 = <&pinctrl_pwm4>;
	status = "okay";
};

&ssi1 {
	fsl,mode = "i2s-slave";
	status = "okay";
};

&uart1 {
	pinctrl-names = "default";
	pinctrl-0 = <&pinctrl_uart1>;
	status = "okay";
};

&uart2 {
	pinctrl-names = "default";
	pinctrl-0 = <&pinctrl_uart2>;
	status = "okay";
};

&uart3 {
	pinctrl-names = "default";
	pinctrl-0 = <&pinctrl_uart3>;
	fsl,uart-has-rtscts;
	status = "okay";
};

&uart4 {
	pinctrl-names = "default";
	pinctrl-0 = <&pinctrl_uart4>;
	status = "okay";
};

&usbh1 {
	pinctrl-names = "default";
	pinctrl-0 = <&pinctrl_usbh1>;
//	disable-over-current;
	reset-gpios = GP_USBH1_HUB_RESET;
	status = "okay";
};

&usbotg {
	vbus-supply = <&reg_usbotg_vbus>;
	pinctrl-names = "default";
	pinctrl-0 = <&pinctrl_usbotg>;
	disable-over-current;
	status = "okay";
};

&usdhc3 {
	pinctrl-names = "default";
	pinctrl-0 = <&pinctrl_usdhc3>;
	cd-gpios = GP_USDHC3_CD;
	vmmc-supply = <&reg_3p3v>;
	status = "okay";
};

&usdhc4 {
	pinctrl-names = "default";
	pinctrl-0 = <&pinctrl_usdhc4>;
	vmmc-supply = <&reg_3p3v>;
	status = "okay";
};
